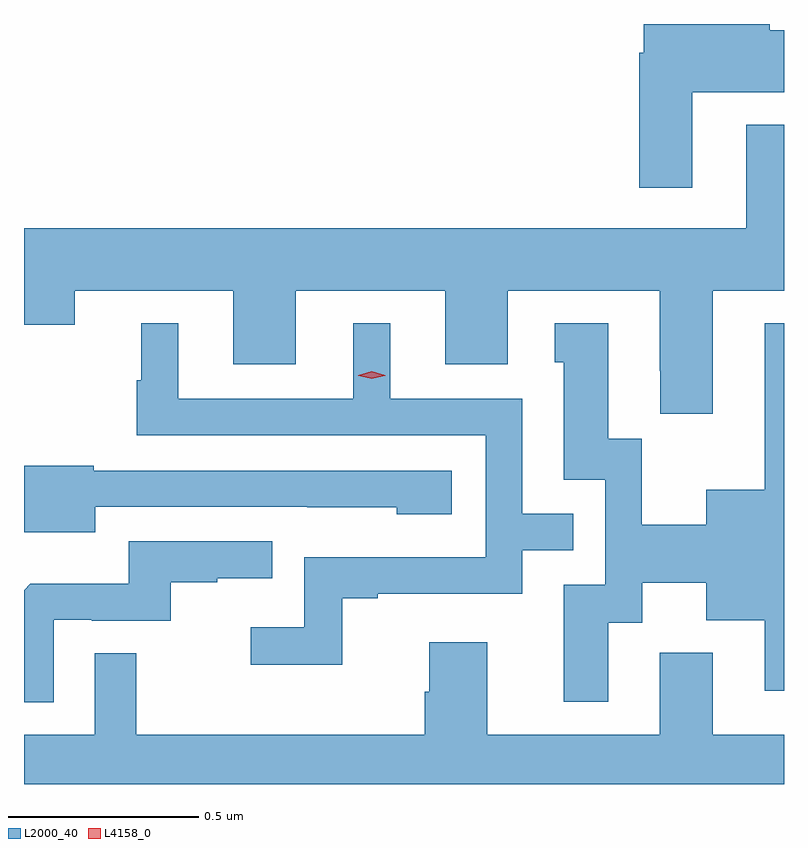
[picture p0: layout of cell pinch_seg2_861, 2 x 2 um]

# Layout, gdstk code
import gdstk
lib = gdstk.Library(unit=1e-6, precision=1e-09)
def P(c, l, *ps):  # polygons
    for p in ps: c.add(gdstk.Polygon(p, *l))
L2000_40 = (2000, 40)
L4158_0 = (4158, 0)

pinch_seg2_861 = lib.new_cell('pinch_seg2_861')
P(pinch_seg2_861, L2000_40, [(870.157,600.206),(870.398,600.206),(870.398,600.37),(870.361,600.37),(870.361,600.386),(870.029,600.386),(870.029,600.31),(870.017,600.31),(870.017,599.955),(870.157,599.955)],
  [(870.211,599.684),(870.398,599.684),(870.398,600.121),(870.299,600.121),(870.299,599.848),(868.398,599.848),(868.398,599.594),(868.531,599.594),(868.531,599.684),(868.949,599.684),(868.949,599.49),(869.113,599.49),(869.113,599.684),(869.507,599.684),(869.507,599.49),(869.671,599.49),(869.671,599.684),(870.071,599.684),(870.071,599.473),(870.072,599.473),(870.072,599.361),(870.211,599.361)],
  [(869.935,598.81),(870.025,598.81),(870.025,598.916),(870.194,598.916),(870.194,598.817),(870.347,598.817),(870.347,598.632),(870.398,598.632),(870.398,599.599),(870.347,599.599),(870.347,599.161),(870.194,599.161),(870.194,599.068),(870.024,599.068),(870.024,599.295),(869.935,599.295),(869.935,599.599),(869.795,599.599),(869.795,599.496),(869.819,599.496),(869.819,599.187),(869.928,599.187),(869.928,598.911),(869.819,598.911),(869.819,598.602),(869.935,598.602)],
  [(869.235,598.875),(869.329,598.875),(869.329,598.887),(869.709,598.887),(869.709,599.001),(869.843,599.001),(869.843,599.097),(869.709,599.097),(869.709,599.4),(869.362,599.4),(869.362,599.599),(869.264,599.599),(869.264,599.4),(868.804,599.4),(868.804,599.599),(868.706,599.599),(868.706,599.448),(868.695,599.448),(868.695,599.304),(869.613,599.304),(869.613,598.983),(869.136,598.983),(869.136,598.798),(868.995,598.798),(868.995,598.7),(869.235,598.7)],
  [(868.585,599.115),(869.143,599.115),(869.143,599.114),(869.379,599.114),(869.379,599.096),(869.524,599.096),(869.524,599.211),(868.581,599.211),(868.581,599.224),(868.398,599.224),(868.398,599.048),(868.585,599.048)],
  [(868.476,598.818),(868.576,598.818),(868.576,598.815),(868.784,598.815),(868.784,598.917),(868.907,598.917),(868.907,598.928),(869.051,598.928),(869.051,599.025),(868.674,599.025),(868.674,598.913),(868.415,598.913),(868.398,598.896),(868.398,598.601),(868.476,598.601)],
  [(870.398,598.516),(870.211,598.516),(870.211,598.732),(870.071,598.732),(870.071,598.516),(869.617,598.516),(869.617,598.759),(869.465,598.759),(869.465,598.629),(869.453,598.629),(869.453,598.516),(868.693,598.516),(868.693,598.73),(868.584,598.73),(868.584,598.516),(868.398,598.516),(868.398,598.386),(870.398,598.386)])
P(pinch_seg2_861, L4158_0, [(869.313,599.452),(869.277,599.461),(869.277,599.462),(869.277,599.462),(869.313,599.472),(869.348,599.462),(869.349,599.462),(869.348,599.461)])

lib.write_gds('pinch_seg2_861.gds')
